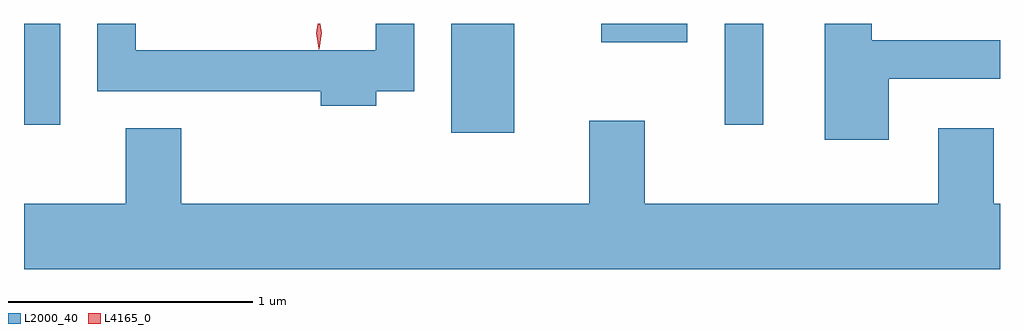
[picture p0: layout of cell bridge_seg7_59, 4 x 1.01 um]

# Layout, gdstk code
import gdstk
lib = gdstk.Library(unit=1e-6, precision=1e-09)
def R(c, l, rs):  # rectangles x0, y0, x1, y1
    for r in rs: c.add(gdstk.rectangle(r[:2], r[2:], *l))
def P(c, l, *ps):  # polygons
    for p in ps: c.add(gdstk.Polygon(p, *l))
L2000_40 = (2000, 40)
L4165_0 = (4165, 0)

bridge_seg7_59 = lib.new_cell('bridge_seg7_59')
R(bridge_seg7_59, L2000_40, [(1589.816,1805.896,1590.074,1806.342), (1588.065,1805.928,1588.214,1806.342), (1590.936,1805.928,1591.094,1806.342), (1590.431,1806.266,1590.784,1806.342)])
P(bridge_seg7_59, L2000_40, [(1591.609,1806.116),(1592.065,1806.116),(1592.065,1806.274),(1591.539,1806.274),(1591.539,1806.342),(1591.346,1806.342),(1591.346,1805.866),(1591.609,1805.866)],
  [(1589.509,1806.066),(1589.664,1806.066),(1589.664,1806.342),(1589.506,1806.342),(1589.506,1806.234),(1588.524,1806.234),(1588.524,1806.342),(1588.366,1806.342),(1588.366,1806.066),(1589.281,1806.066),(1589.281,1806.006),(1589.509,1806.006)],
  [(1592.065,1805.604),(1592.039,1805.604),(1592.039,1805.914),(1591.811,1805.914),(1591.811,1805.604),(1590.609,1805.604),(1590.609,1805.944),(1590.381,1805.944),(1590.381,1805.604),(1588.709,1805.604),(1588.709,1805.914),(1588.481,1805.914),(1588.481,1805.604),(1588.065,1805.604),(1588.065,1805.336),(1592.065,1805.336)])
P(bridge_seg7_59, L4165_0, [(1589.274,1806.237),(1589.265,1806.306),(1589.27,1806.342),(1589.28,1806.342),(1589.285,1806.306),(1589.275,1806.237)],
  [(1589.273,1806.239),(1589.273,1806.24),(1589.263,1806.306),(1589.268,1806.342),(1589.278,1806.342),(1589.283,1806.306),(1589.274,1806.24)])

lib.write_gds('bridge_seg7_59.gds')
